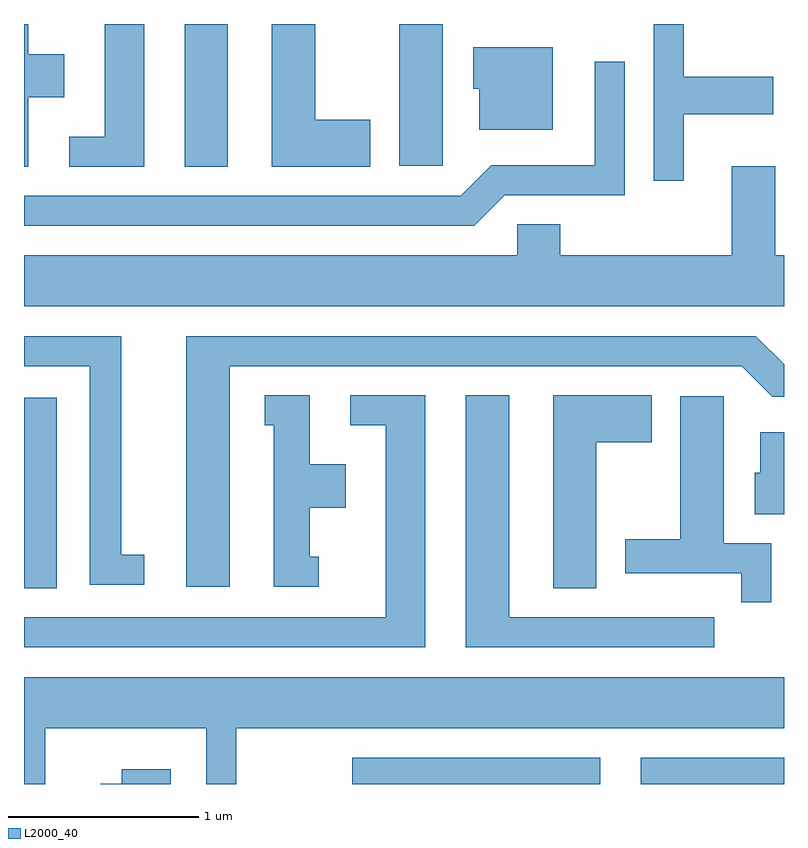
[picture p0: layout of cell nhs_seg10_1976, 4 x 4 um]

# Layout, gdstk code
import gdstk
lib = gdstk.Library(unit=1e-6, precision=1e-09)
def R(c, l, rs):  # rectangles x0, y0, x1, y1
    for r in rs: c.add(gdstk.rectangle(r[:2], r[2:], *l))
def P(c, l, *ps):  # polygons
    for p in ps: c.add(gdstk.Polygon(p, *l))
L2000_40 = (2000, 40)

nhs_seg10_1976 = lib.new_cell('nhs_seg10_1976')
R(nhs_seg10_1976, L2000_40, [(245.338,2102.522,246.644,2102.659), (246.856,2102.522,247.611,2102.659), (243.611,2103.551,243.784,2104.554), (244.456,2105.771,244.684,2106.522), (245.586,2105.776,245.814,2106.522)])
P(nhs_seg10_1976, L2000_40, [(245.434,2106.019),(245.144,2106.019),(245.144,2106.522),(244.916,2106.522),(244.916,2105.771),(245.434,2105.771)],
  [(243.634,2106.136),(243.824,2106.136),(243.824,2106.364),(243.634,2106.364),(243.634,2106.522),(243.611,2106.522),(243.611,2105.771),(243.634,2105.771)],
  [(247.084,2106.046),(247.554,2106.046),(247.554,2106.244),(247.084,2106.244),(247.084,2106.522),(246.926,2106.522),(246.926,2105.698),(247.084,2105.698)],
  [(244.244,2106.522),(244.036,2106.522),(244.036,2105.929),(243.848,2105.929),(243.848,2105.771),(244.244,2105.771)],
  [(246.394,2106.399),(245.976,2106.399),(245.976,2106.181),(246.006,2106.181),(246.006,2105.966),(246.394,2105.966)],
  [(246.142,2105.621),(246.774,2105.621),(246.774,2106.323),(246.616,2106.323),(246.616,2105.779),(246.069,2105.779),(245.909,2105.619),(243.611,2105.619),(243.611,2105.461),(245.982,2105.461)],
  [(247.611,2105.304),(247.564,2105.304),(247.564,2105.774),(247.336,2105.774),(247.336,2105.304),(246.434,2105.304),(246.434,2105.469),(246.206,2105.469),(246.206,2105.304),(243.611,2105.304),(243.611,2105.036),(247.611,2105.036)],
  [(244.243,2103.729),(244.124,2103.729),(244.124,2104.879),(243.611,2104.879),(243.611,2104.721),(243.956,2104.721),(243.956,2103.571),(244.243,2103.571)],
  [(244.694,2104.721),(247.389,2104.721),(247.549,2104.561),(247.611,2104.561),(247.611,2104.73),(247.462,2104.879),(244.466,2104.879),(244.466,2103.561),(244.694,2103.561)],
  [(245.724,2104.569),(245.328,2104.569),(245.328,2104.411),(245.516,2104.411),(245.516,2103.399),(243.611,2103.399),(243.611,2103.241),(245.724,2103.241)],
  [(245.163,2103.719),(245.114,2103.719),(245.114,2103.976),(245.304,2103.976),(245.304,2104.204),(245.114,2104.204),(245.114,2104.569),(244.878,2104.569),(244.878,2104.411),(244.926,2104.411),(244.926,2103.561),(245.163,2103.561)],
  [(247.243,2103.399),(246.164,2103.399),(246.164,2104.569),(245.936,2104.569),(245.936,2103.241),(247.243,2103.241)],
  [(246.624,2104.321),(246.914,2104.321),(246.914,2104.569),(246.396,2104.569),(246.396,2103.551),(246.624,2103.551)],
  [(247.544,2103.789),(247.294,2103.789),(247.294,2104.564),(247.066,2104.564),(247.066,2103.809),(246.776,2103.809),(246.776,2103.631),(247.386,2103.631),(247.386,2103.478),(247.544,2103.478)],
  [(247.611,2104.374),(247.486,2104.374),(247.486,2104.159),(247.456,2104.159),(247.456,2103.941),(247.611,2103.941)],
  [(243.724,2102.816),(244.571,2102.816),(244.571,2102.522),(244.729,2102.522),(244.729,2102.816),(247.611,2102.816),(247.611,2103.084),(243.611,2103.084),(243.611,2102.522),(243.724,2102.522)],
  [(244.384,2102.599),(244.126,2102.599),(244.126,2102.524),(244.016,2102.524),(244.016,2102.522),(244.384,2102.522)])

lib.write_gds('nhs_seg10_1976.gds')
